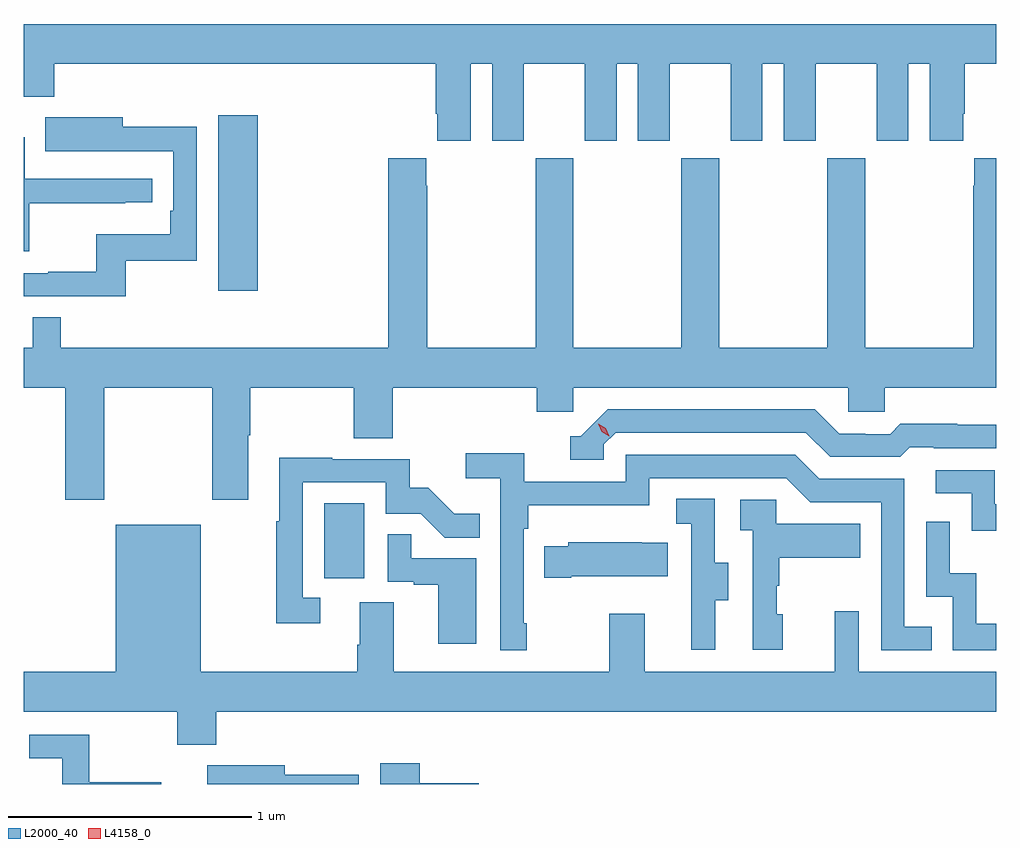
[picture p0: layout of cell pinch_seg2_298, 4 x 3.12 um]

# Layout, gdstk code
import gdstk
lib = gdstk.Library(unit=1e-6, precision=1e-09)
def R(c, l, rs):  # rectangles x0, y0, x1, y1
    for r in rs: c.add(gdstk.rectangle(r[:2], r[2:], *l))
def P(c, l, *ps):  # polygons
    for p in ps: c.add(gdstk.Polygon(p, *l))
L2000_40 = (2000, 40)
L4158_0 = (4158, 0)

pinch_seg2_298 = lib.new_cell('pinch_seg2_298')
R(pinch_seg2_298, L2000_40, [(949.202,636.198,949.366,636.505), (948.767,637.38,948.928,638.101)])
P(pinch_seg2_298, L2000_40, [(949.804,638.312),(949.892,638.312),(949.892,637.995),(950.023,637.995),(950.023,638.312),(950.273,638.312),(950.273,637.995),(950.404,637.995),(950.404,638.312),(950.492,638.312),(950.492,637.995),(950.623,637.995),(950.623,638.312),(950.873,638.312),(950.873,637.995),(951.004,637.995),(951.004,638.312),(951.092,638.312),(951.092,637.995),(951.223,637.995),(951.223,638.312),(951.473,638.312),(951.473,637.995),(951.604,637.995),(951.604,638.312),(951.692,638.312),(951.692,637.995),(951.829,637.995),(951.829,638.107),(951.836,638.107),(951.836,638.312),(951.966,638.312),(951.966,638.476),(947.966,638.476),(947.966,638.177),(948.092,638.177),(948.092,638.312),(949.661,638.312),(949.661,638.107),(949.667,638.107),(949.667,637.995),(949.804,637.995)],
  [(948.385,637.503),(948.678,637.503),(948.678,638.054),(948.373,638.054),(948.373,638.092),(948.055,638.092),(948.055,637.952),(948.269,637.952),(948.269,637.953),(948.582,637.953),(948.582,637.708),(948.569,637.708),(948.569,637.612),(948.264,637.612),(948.264,637.457),(948.067,637.457),(948.067,637.452),(947.966,637.452),(947.966,637.356),(948.385,637.356)],
  [(947.99,637.738),(948.383,637.738),(948.383,637.743),(948.496,637.743),(948.496,637.839),(947.97,637.839),(947.97,638.011),(947.966,638.011),(947.966,637.542),(947.99,637.542)],
  [(948.119,637.271),(948.003,637.271),(948.003,637.144),(947.966,637.144),(947.966,636.98),(948.137,636.98),(948.137,636.519),(948.297,636.519),(948.297,636.98),(948.742,636.98),(948.742,636.519),(948.889,636.519),(948.889,636.784),(948.897,636.784),(948.897,636.98),(949.324,636.98),(949.324,636.772),(949.484,636.772),(949.484,636.98),(950.075,636.98),(950.075,636.882),(950.226,636.882),(950.226,636.98),(951.357,636.98),(951.357,636.882),(951.507,636.882),(951.507,636.98),(951.966,636.98),(951.966,637.924),(951.875,637.924),(951.875,637.811),(951.871,637.811),(951.871,637.144),(951.426,637.144),(951.426,637.924),(951.271,637.924),(951.271,637.144),(950.826,637.144),(950.826,637.924),(950.671,637.924),(950.671,637.144),(950.226,637.144),(950.226,637.924),(950.071,637.924),(950.071,637.144),(949.626,637.144),(949.626,637.811),(949.621,637.811),(949.621,637.924),(949.466,637.924),(949.466,637.144),(948.119,637.144)],
  [(950.352,636.747),(950.4,636.795),(951.183,636.795),(951.282,636.696),(951.571,636.696),(951.61,636.735),(951.709,636.735),(951.709,636.732),(951.966,636.732),(951.966,636.829),(951.804,636.829),(951.804,636.832),(951.571,636.832),(951.529,636.789),(951.426,636.789),(951.426,636.792),(951.319,636.792),(951.22,636.891),(950.367,636.891),(950.256,636.78),(950.213,636.78),(950.213,636.684),(950.352,636.684)],
  [(950.035,636.013),(950.022,636.013),(950.022,636.401),(950.042,636.401),(950.042,636.497),(950.538,636.497),(950.538,636.609),(951.102,636.609),(951.201,636.51),(951.492,636.51),(951.492,635.901),(951.701,635.901),(951.701,635.997),(951.588,635.997),(951.588,636.606),(951.238,636.606),(951.139,636.705),(950.442,636.705),(950.442,636.594),(950.024,636.594),(950.024,636.71),(949.785,636.71),(949.785,636.608),(949.926,636.608),(949.926,635.901),(950.035,635.901)],
  [(949.186,636.117),(949.113,636.117),(949.113,636.591),(949.455,636.591),(949.455,636.462),(949.599,636.462),(949.697,636.364),(949.841,636.364),(949.841,636.463),(949.737,636.463),(949.63,636.57),(949.554,636.57),(949.554,636.687),(949.235,636.687),(949.235,636.692),(949.017,636.692),(949.017,636.431),(949.005,636.431),(949.005,636.012),(949.186,636.012)],
  [(951.966,636.501),(951.96,636.501),(951.96,636.642),(951.717,636.642),(951.717,636.546),(951.864,636.546),(951.864,636.393),(951.966,636.393)],
  [(950.809,636.106),(950.863,636.106),(950.863,636.261),(950.808,636.261),(950.808,636.524),(950.649,636.524),(950.649,636.421),(950.712,636.421),(950.712,636.117),(950.711,636.117),(950.711,635.904),(950.809,635.904)],
  [(951.088,636.048),(951.063,636.048),(951.063,636.167),(951.073,636.167),(951.073,636.281),(951.407,636.281),(951.407,636.421),(951.06,636.421),(951.06,636.519),(950.913,636.519),(950.913,636.395),(950.964,636.395),(950.964,635.904),(951.088,635.904)],
  [(951.966,636.01),(951.884,636.01),(951.884,636.218),(951.774,636.218),(951.774,636.43),(951.678,636.43),(951.678,636.12),(951.786,636.12),(951.786,635.901),(951.966,635.901)],
  [(948.758,635.648),(951.966,635.648),(951.966,635.812),(951.399,635.812),(951.399,636.061),(951.302,636.061),(951.302,635.812),(950.521,635.812),(950.521,636.052),(950.374,636.052),(950.374,635.812),(949.489,635.812),(949.489,636.098),(949.349,636.098),(949.349,635.924),(949.337,635.924),(949.337,635.812),(948.694,635.812),(948.694,636.418),(948.344,636.418),(948.344,635.812),(947.966,635.812),(947.966,635.648),(948.598,635.648),(948.598,635.513),(948.758,635.513)],
  [(949.828,636.279),(949.559,636.279),(949.559,636.377),(949.464,636.377),(949.464,636.183),(949.571,636.183),(949.571,636.171),(949.67,636.171),(949.67,635.928),(949.828,635.928)],
  [(950.218,636.206),(950.615,636.206),(950.615,636.343),(950.507,636.343),(950.507,636.346),(950.205,636.346),(950.205,636.328),(950.107,636.328),(950.107,636.199),(950.218,636.199)],
  [(948.533,635.359),(948.235,635.359),(948.235,635.553),(947.989,635.553),(947.989,635.456),(948.124,635.456),(948.124,635.351),(948.533,635.351)],
  [(949.837,635.355),(949.594,635.355),(949.594,635.437),(949.433,635.437),(949.433,635.351),(949.837,635.351)],
  [(949.344,635.39),(949.039,635.39),(949.039,635.428),(948.721,635.428),(948.721,635.351),(949.344,635.351)])
P(pinch_seg2_298, L4158_0, [(950.375,636.78),(950.344,636.8),(950.329,636.832),(950.329,636.833),(950.329,636.833),(950.359,636.813),(950.375,636.78),(950.375,636.78)])

lib.write_gds('pinch_seg2_298.gds')
